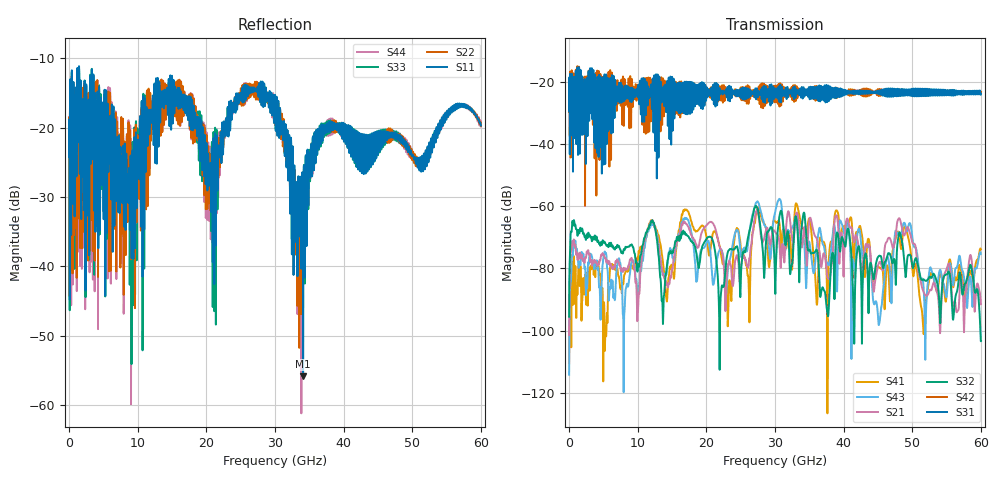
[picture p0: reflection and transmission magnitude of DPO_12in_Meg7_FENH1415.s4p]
! Tyco Electronics Strada Whisper System
! FEXT_H1415_G1112
!! SYSTEM DESCRIPTION: Daughtercard-Footprint-Connector-Footprint-Daughtercard
!! PCB DESCRIPTION: DC: 140mil, Megtron7N, upper layer route, 15mil stub, 6-6-6mil 12" traces
!! CONNECTOR DESCRIPTION: Next-Gen STRADA Whisper Direct-Plug Orthogonal Connector
!! MODEL DESCRIPTION: Tyco Electronics System 4-port S-parameter
!! MODEL STATUS: Developmental
!! MODEL GEOMETRY: Channel Model
!! MODEL FREQUENCY RANGE: DC to 60 GHz in 10 MHz frequency steps
!! MODEL EDGE RATE LIMITATION: 8.3 ps (Using conservative 0.5/Fmax rule of thumb)
!! TIME-DOMAIN TRANSFORM CAUTIONS:
!! 1.) Do not simulate transient edge rates faster than the number listed above.  Edge rates faster than this number
!!  contain significant spectral content at frequencies above the model's highest frequency.
!! 2.) Even when simulating edge rates that are slower than the number listed above, be aware that the best time
!!  resolution possible with a direct iFFT is (1 / 2Fmax).  As a result, time resolution is typically not adequate
!!  for most time-domain simulations unless tricks such as windowing are used to minimize leakage and aliasing.
!! 3.) Because the model has a uniform frequency step, a direct iFFT will result in an impulse that that has a time
!!  length given by either (1 / Fstep) or (1 / 2Fstep), depending on the transform being used.  Care has been taken
!!  in selecting the frequency step to ensure a settled impulse response for the model.  Therefore, convolution with
!!  the model's impulse response should present no issues.  However, if directly concatenating s-parameter models
!!  in the frequency domain a user must either interpolate necessary interim frequencies or complete impulse response
!!  zero-padding.  Impulse response zero-padding is more difficult, but more accurate.
!! PORT DEFINITIONS:
!! Port  1  ----->  TX Side	H14  G11  RX Side  <-----  Port  3
!! Port  2  ----->  TX Side	H15  G12  RX Side  <-----  Port  4
! Touchstone data
! Created: 10-Dec-2018 by IdEM R2012 (8.0.5)
# Hz S MA R 50
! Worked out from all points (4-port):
!   6000 points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, 10 MHz to 60 GHz, reference 50 ohm
!   strongest paths, dB at 10 MHz, 15.01 GHz, 30.01 GHz, 45.01 GHz, 60 GHz:
!     S31: -29.5, -18.5, -22.3, -23.1, -23.9
!     S42: -29.7, -26.3, -21.4, -22.6, -23.2
!     S32: -95.5, -74.7, -84.5, -76.3, -103.3
!     S21: -101.4, -80.1, -68.2, -79.1, -91.5
!     S43: -114.2, -75.4, -62.1, -95.7, -75.3
!     S41: -110.6, -80.4, -64.8, -79.3, -73.9
!   lowest |S11| = -55.8 dB at 34.1 GHz (marker M1), VSWR 1.00, Z = 50.1 + j0.0985 ohm
!   |S11| at or under -10 dB: start of sweep to end of sweep
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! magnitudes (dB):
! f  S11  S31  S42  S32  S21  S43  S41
! 10 MHz  -24.2  -29.5  -29.7  -95.5  -101.4  -114.2  -110.6
! 15.11 GHz  -19.4  -35.7  -20.0  -75.1  -79.7  -76.6  -81.2
! 16.92 GHz  -17.8  -25.2  -24.8  -68.8  -65.3  -63.9  -61.1
! 26.14 GHz  -14.1  -22.6  -27.1  -69.5  -79.3  -71.3  -83.3
! 27.61 GHz  -15.5  -23.0  -22.1  -62.3  -63.0  -59.0  -60.4
! 34.1 GHz  -55.8  -22.8  -23.0  -63.0  -69.8  -70.1  -67.1
! 60 GHz  -19.7  -23.9  -23.2  -103.3  -91.5  -75.3  -73.9
